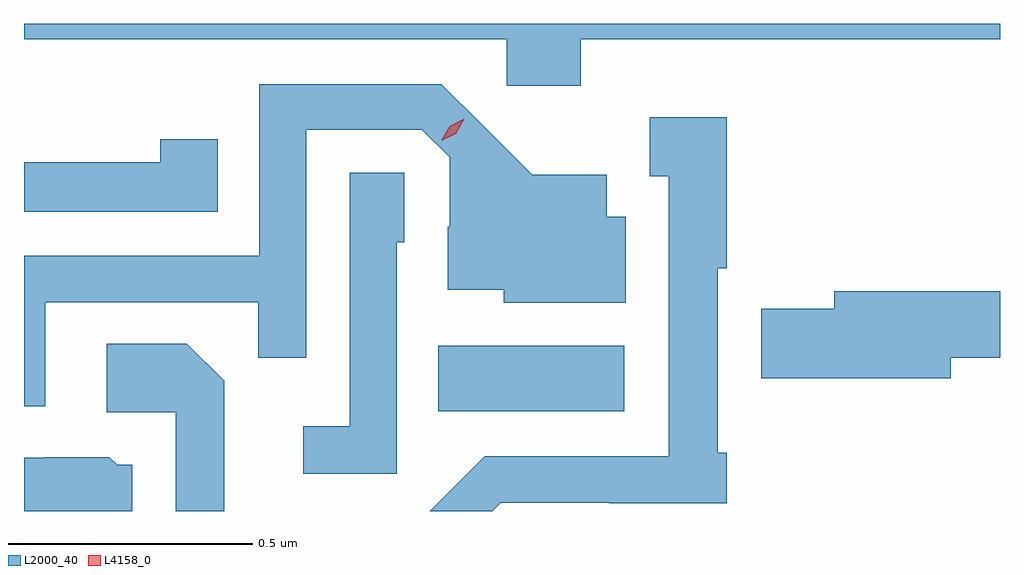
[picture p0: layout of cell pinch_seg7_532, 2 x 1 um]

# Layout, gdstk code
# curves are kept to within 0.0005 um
import gdstk
lib = gdstk.Library(unit=1e-6, precision=1e-09)
def R(c, l, rs):  # rectangles x0, y0, x1, y1
    for r in rs: c.add(gdstk.rectangle(r[:2], r[2:], *l))
def P(c, l, *ps):  # polygons
    for p in ps: c.add(gdstk.Polygon(p, *l))
L2000_40 = (2000, 40)
L4158_0 = (4158, 0)

pinch_seg7_532 = lib.new_cell('pinch_seg7_532')
R(pinch_seg7_532, L2000_40, [(122.05,1081.106,122.431,1081.24)])
P(pinch_seg7_532, L2000_40, [(122.342,1081.868),(123.201,1081.868),(123.201,1081.9),(121.201,1081.9),(121.201,1081.868),(122.19,1081.868),(122.19,1081.773),(122.342,1081.773)],
  [(121.245,1081.329),(121.681,1081.329),(121.681,1081.216),(121.779,1081.216),(121.779,1081.683),(122.016,1081.683),(122.073,1081.626),(122.073,1081.484),(122.069,1081.484),(122.069,1081.355),(122.184,1081.355),(122.184,1081.328),(122.434,1081.328),(122.434,1081.504),(122.395,1081.504),(122.395,1081.591),(122.243,1081.591),(122.056,1081.776),(121.683,1081.776),(121.683,1081.425),(121.201,1081.425),(121.201,1081.116),(121.245,1081.116)],
  [(122.178,1080.918),(122.4,1080.918),(122.4,1080.917),(122.641,1080.917),(122.641,1081.021),(122.623,1081.021),(122.623,1081.399),(122.641,1081.399),(122.641,1081.708),(122.483,1081.708),(122.483,1081.587),(122.522,1081.587),(122.522,1081.014),(122.145,1081.014),(122.032,1080.901),(122.161,1080.901)],
  [(121.598,1081.663),(121.48,1081.663),(121.48,1081.616),(121.201,1081.616),(121.201,1081.515),(121.598,1081.515)],
  [(121.965,1081.452),(121.98,1081.452),(121.98,1081.595),(121.869,1081.595),(121.869,1081.075),(121.773,1081.075),(121.773,1080.978),(121.965,1080.978)],
  [(123.1,1081.216),(123.201,1081.216),(123.201,1081.352),(122.861,1081.352),(122.861,1081.316),(122.712,1081.316),(122.712,1081.174),(123.1,1081.174)],
  [(121.611,1081.168),(121.535,1081.244),(121.371,1081.244),(121.371,1081.104),(121.512,1081.104),(121.512,1080.901),(121.611,1080.901)],
  [(121.423,1080.996),(121.392,1080.996),(121.376,1081.012),(121.242,1081.012),(121.242,1081.011),(121.201,1081.011),(121.201,1080.901),(121.423,1080.901)])
P(pinch_seg7_532, L4158_0, [(122.056,1081.66),(122.056,1081.66),(122.073,1081.69),(122.103,1081.705),(122.103,1081.705),(122.103,1081.705),(122.086,1081.675),(122.056,1081.66)])

lib.write_gds('pinch_seg7_532.gds')
